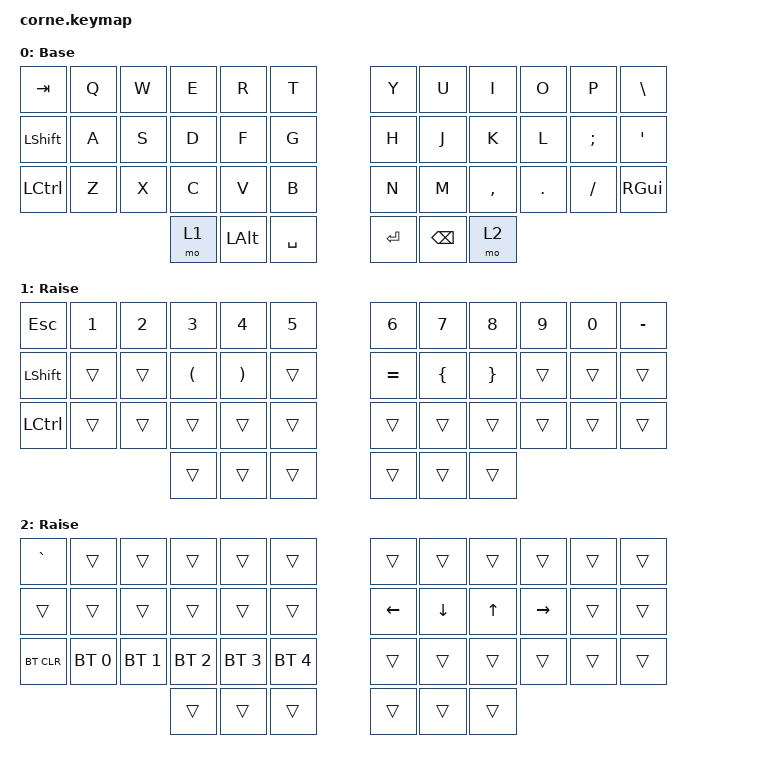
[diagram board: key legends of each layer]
/*
 * Copyright (c) 2020 The ZMK Contributors
 *
 * SPDX-License-Identifier: MIT
 */

#include <behaviors.dtsi>
#include <dt-bindings/zmk/bt.h>
#include <dt-bindings/zmk/keys.h>

/ {
    keymap {
        compatible = "zmk,keymap";

        default_layer {
            // -----------------------------------------------------------------------------------------
            // |  TAB |  Q  |  W  |  E  |  R  |  T  |   |  Y  |  U   |  I  |  O  |  P  | BKSP |
            // | CTRL |  A  |  S  |  D  |  F  |  G  |   |  H  |  J   |  K  |  L  |  ;  |  '   |
            // | SHFT |  Z  |  X  |  C  |  V  |  B  |   |  N  |  M   |  ,  |  .  |  /  | ESC  |
            //                    | GUI | LWR | SPC |   | ENT | RSE  | ALT |

            display-name = "Base";
            bindings = <
&kp TAB         &kp Q  &kp W  &kp E  &kp R     &kp T        &kp Y    &kp U          &kp I      &kp O    &kp P     &kp BACKSLASH
&kp LEFT_SHIFT  &kp A  &kp S  &kp D  &kp F     &kp G        &kp H    &kp J          &kp K      &kp L    &kp SEMI  &kp SQT
&kp LCTRL       &kp Z  &kp X  &kp C  &kp V     &kp B        &kp N    &kp M          &kp COMMA  &kp DOT  &kp FSLH  &kp RGUI
                              &mo 1  &kp LALT  &kp SPACE    &kp RET  &kp BACKSPACE  &mo 2
            >;
        };

        lower_layer {
            display-name = "Raise";
            bindings = <
&kp ESCAPE      &kp N1  &kp N2  &kp N3                &kp N4                 &kp N5    &kp N6     &kp N7          &kp N8           &kp N9  &kp N0  &kp MINUS
&kp LEFT_SHIFT  &trans  &trans  &kp LEFT_PARENTHESIS  &kp RIGHT_PARENTHESIS  &trans    &kp EQUAL  &kp LEFT_BRACE  &kp RIGHT_BRACE  &trans  &trans  &trans
&kp LCTRL       &trans  &trans  &trans                &trans                 &trans    &trans     &trans          &trans           &trans  &trans  &trans
                                &trans                &trans                 &trans    &trans     &trans          &trans
            >;
        };

        raise_layer {
            // -----------------------------------------------------------------------------------------
            // |  TAB |  !  |  @  |  #  |  $  |  %  |   |  ^  |  &  |  *  |  (  |  )  | BKSP |
            // | CTRL |     |     |     |     |     |   |  -  |  =  |  [  |  ]  |  \  |  `   |
            // | SHFT |     |     |     |     |     |   |  _  |  +  |  {  |  }  | "|" |  ~   |
            //                    | GUI |     | SPC |   | ENT |     | ALT |

            display-name = "Raise";
            bindings = <
&kp GRAVE   &trans        &trans        &trans        &trans        &trans          &trans    &trans    &trans  &trans     &trans  &trans
&trans      &trans        &trans        &trans        &trans        &trans          &kp LEFT  &kp DOWN  &kp UP  &kp RIGHT  &trans  &trans
&bt BT_CLR  &bt BT_SEL 0  &bt BT_SEL 1  &bt BT_SEL 2  &bt BT_SEL 3  &bt BT_SEL 4    &trans    &trans    &trans  &trans     &trans  &trans
                                        &trans        &trans        &trans          &trans    &trans    &trans
            >;
        };
    };
};
